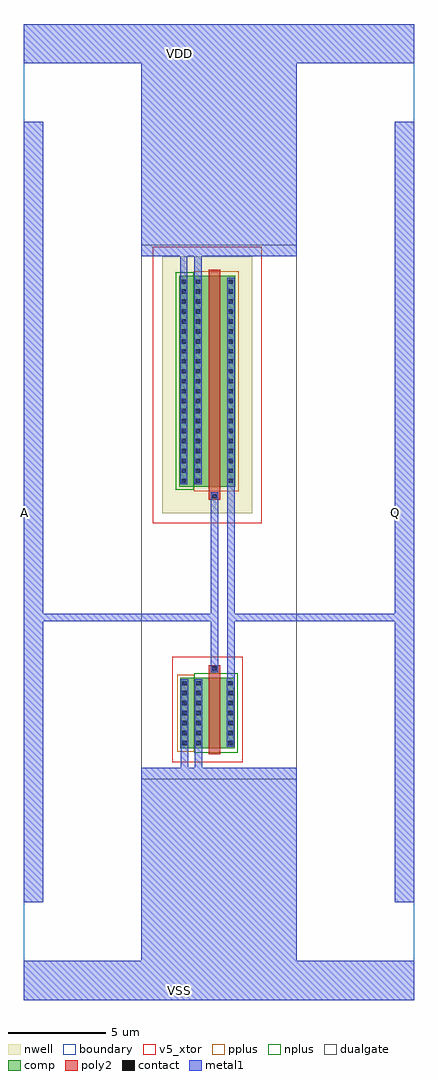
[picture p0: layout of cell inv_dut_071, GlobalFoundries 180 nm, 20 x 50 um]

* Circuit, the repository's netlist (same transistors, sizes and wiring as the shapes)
* inv_dut_071: pfet_05v0 W=10.80u L=0.60u / nfet_05v0 W=3.60u L=0.60u
.SUBCKT inv_dut_071 A Q VDD VSS
MMP Q A VDD VDD pfet_05v0 W=10.80u L=0.60u
MMN Q A VSS VSS nfet_05v0 W=3.60u L=0.60u
.ENDS

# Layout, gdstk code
import gdstk
lib = gdstk.Library(unit=1e-6, precision=1e-09)
def R(c, l, rs):  # rectangles x0, y0, x1, y1
    for r in rs: c.add(gdstk.rectangle(r[:2], r[2:], *l))
def A(c, l, x, y, w, h, nx, ny, dx, dy):  # array of equal rectangles
    R(c, l, [(x+i*dx, y+j*dy, x+i*dx+w, y+j*dy+h) for i in range(nx) for j in range(ny)])
boundary = (0, 0)
nwell = (21, 0)
comp = (22, 0)
poly2 = (30, 0)
pplus = (31, 0)
nplus = (32, 0)
contact = (33, 0)
metal1 = (34, 0)
dualgate = (55, 0)
v5_xtor = (112, 1)

inv_dut_071 = lib.new_cell('inv_dut_071')
R(inv_dut_071, boundary, [(-10,-25,10,25)])
R(inv_dut_071, nwell, [(-2.895,-0.07,1.695,13.09)])
R(inv_dut_071, comp, [(-1.975,-12.1,0.795,-8.5), (-2.035,1.3,0.835,12.1)])
R(inv_dut_071, poly2, [(-0.535,-12.4,0.065,-7.84), (-0.535,0.62,0.065,12.4)])
R(inv_dut_071, pplus, [(-2.145,-12.27,-1.265,-8.33), (-1.305,1.06,1.005,12.34)])
R(inv_dut_071, nplus, [(-1.265,-12.34,0.965,-8.26), (-2.205,1.13,-1.305,12.27)])
A(inv_dut_071, contact, -1.875, -11.94, 0.22, 0.22, 1, 7, 0, 0.51)
A(inv_dut_071, contact, -1.165, -11.94, 0.22, 0.22, 1, 7, 0, 0.51)
A(inv_dut_071, contact, 0.475, -11.94, 0.22, 0.22, 1, 7, 0, 0.51)
A(inv_dut_071, contact, -1.915, 1.49, 0.22, 0.22, 1, 21, 0, 0.51)
A(inv_dut_071, contact, -1.185, 1.49, 0.22, 0.22, 1, 21, 0, 0.51)
A(inv_dut_071, contact, 0.495, 1.49, 0.22, 0.22, 1, 21, 0, 0.51)
R(inv_dut_071, contact, [(-0.345,-8.13,-0.125,-7.91), (-0.345,0.7,-0.125,0.92)])
R(inv_dut_071, metal1, [(-10,-25,10,-23), (-3.995,-23,3.995,-13.4), (-10,-20,-9,20), (9,-20,10,20), (-3.995,-13.7,3.995,-13.1), (-1.955,-13.7,-1.575,-8.58), (-1.245,-13.7,-0.865,-8.58), (-1.955,-12.02,-1.575,-8.58), (-1.245,-12.02,-0.865,-8.58), (0.395,-12.02,0.775,-8.58), (0.395,-8.96,0.795,-8.58), (0.415,-8.96,0.795,1.79), (-0.425,-8.21,-0.045,1), (-0.425,-8.21,-0.045,-7.83), (-9,-5.6,-3.695,-5.2), (-3.995,-5.6,-0.045,-5.2), (0.415,-5.6,3.995,-5.2), (3.695,-5.6,9,-5.2), (-0.425,0.62,-0.045,1), (-1.995,1.41,-1.615,13.7), (-1.995,1.41,-1.615,11.99), (-1.265,1.41,-0.885,13.7), (-1.265,1.41,-0.885,11.99), (0.415,1.41,0.795,1.79), (0.415,1.41,0.795,11.99), (-3.995,13.1,3.995,13.7), (-3.995,13.4,3.995,23), (-10,23,10,25)])
R(inv_dut_071, dualgate, [(-3.995,-13.7,3.995,13.7), (-2.395,-12.81,1.215,-7.42), (-3.395,-0.57,2.195,13.59)])
R(inv_dut_071, v5_xtor, [(-2.395,-12.81,1.215,-7.42), (-3.395,-0.57,2.195,13.59)])
inv_dut_071.add(gdstk.Label('VDD', (-2,23.5), layer=34, texttype=10))
inv_dut_071.add(gdstk.Label('VSS', (-2,-24.5), layer=34, texttype=10))
inv_dut_071.add(gdstk.Label('A', (-9.97,0), layer=34, texttype=10))
inv_dut_071.add(gdstk.Label('Q', (9.03,0), layer=34, texttype=10))

lib.write_gds('inv_dut_071.gds')
